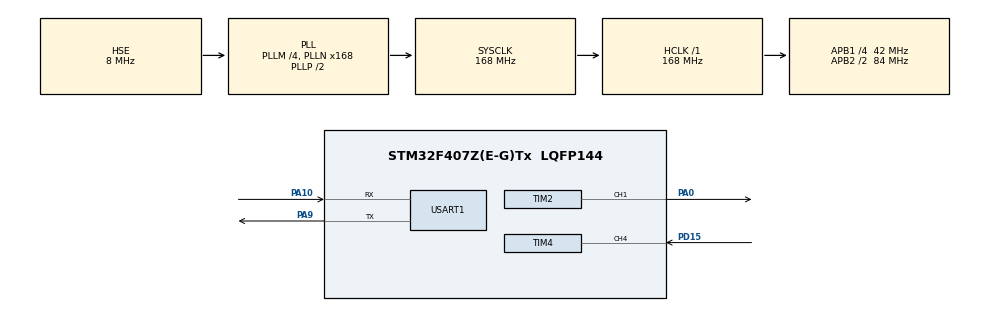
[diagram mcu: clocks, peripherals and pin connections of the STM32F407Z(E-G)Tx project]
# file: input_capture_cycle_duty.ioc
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Mcu.Family=STM32F4
Mcu.Name=STM32F407Z(E-G)Tx
Mcu.Package=LQFP144
NVIC.PriorityGroup=NVIC_PRIORITYGROUP_4
NVIC.TIM4_IRQn=true\:0\:0\:false\:false\:true\:true\:true
PA0-WKUP.Signal=S_TIM2_CH1_ETR
PA10.Mode=Asynchronous
PA10.Signal=USART1_RX
PA9.Mode=Asynchronous
PA9.Signal=USART1_TX
PC14-OSC32_IN.Mode=LSE-External-Oscillator
PC14-OSC32_IN.Signal=RCC_OSC32_IN
PC15-OSC32_OUT.Mode=LSE-External-Oscillator
PC15-OSC32_OUT.Signal=RCC_OSC32_OUT
PD15.Signal=S_TIM4_CH4
PH0-OSC_IN.Mode=HSE-External-Oscillator
PH0-OSC_IN.Signal=RCC_OSC_IN
PH1-OSC_OUT.Mode=HSE-External-Oscillator
PH1-OSC_OUT.Signal=RCC_OSC_OUT
ProjectManager.HeapSize=0x200
ProjectManager.StackSize=0x400
ProjectManager.TargetToolchain=MDK-ARM V5.32
RCC.48MHZClocksFreq_Value=84000000
RCC.AHBFreq_Value=168000000
RCC.APB1CLKDivider=RCC_HCLK_DIV4
RCC.APB1Freq_Value=42000000
RCC.APB1TimFreq_Value=84000000
RCC.APB2CLKDivider=RCC_HCLK_DIV2
RCC.APB2Freq_Value=84000000
RCC.APB2TimFreq_Value=168000000
RCC.CortexFreq_Value=168000000
RCC.HCLKFreq_Value=168000000
RCC.HSE_VALUE=8000000
RCC.HSI_VALUE=16000000
RCC.PLLM=4
RCC.PLLN=168
RCC.PLLSourceVirtual=RCC_PLLSOURCE_HSE
RCC.SYSCLKFreq_VALUE=168000000
RCC.SYSCLKSource=RCC_SYSCLKSOURCE_PLLCLK
RCC.VCOOutputFreq_Value=336000000
SH.S_TIM2_CH1_ETR.0=TIM2_CH1,PWM Generation1 CH1
SH.S_TIM4_CH4.0=TIM4_CH4,Input_Capture4_from_TI4
TIM2.Channel-PWM\ Generation1\ CH1=TIM_CHANNEL_1
TIM2.Period=10000-1
TIM2.Prescaler=84-1
TIM2.Pulse-PWM\ Generation1\ CH1=5000
TIM4.AutoReloadPreload=TIM_AUTORELOAD_PRELOAD_ENABLE
TIM4.Channel-Input_Capture4_from_TI4=TIM_CHANNEL_4
TIM4.Prescaler=84-1
USART1.VirtualMode=VM_ASYNC
VP_TIM2_VS_ClockSourceINT.Mode=Internal
VP_TIM4_VS_ClockSourceINT.Mode=Internal
board=custom

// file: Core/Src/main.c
/* USER CODE BEGIN Header */
/**
  ******************************************************************************
  * @file           : main.c
  * @brief          : Main program body
  ******************************************************************************
  * @attention
  *
  * <h2><center>&copy; Copyright (c) 2021 STMicroelectronics.
  * All rights reserved.</center></h2>
  *
  * This software component is licensed by ST under BSD 3-Clause license,
  * the "License"; You may not use this file except in compliance with the
  * License. You may obtain a copy of the License at:
  *                        opensource.org/licenses/BSD-3-Clause
  *
  ******************************************************************************
  */
/* USER CODE END Header */
#include "main.h"
#include "tim.h"
#include "usart.h"
#include "gpio.h"

void SystemClock_Config(void);

/* USER CODE BEGIN 0 */
__IO float DutyCycle = 0;
__IO float Frequency = 0;

void get_pwm_duty(void)
{
  if(TIM4CH4_CAPTURE_STA&0X80)        //成功捕获到了一次高电平
		{
      DutyCycle=(float)(TIM4CH4_CAPTURE_VAH*100)/(TIM4CH4_CAPTURE_VAH+TIM4CH4_CAPTURE_VAL);
			Frequency=84000000/84/(TIM4CH4_CAPTURE_VAH+TIM4CH4_CAPTURE_VAL);
			printf("TIM4CH4_CAPTURE_VAH=%d\r\n",TIM4CH4_CAPTURE_VAH);
		  printf("TIM4CH4_CAPTURE_VAL=%d\r\n",TIM4CH4_CAPTURE_VAL);
		  printf("占空比:%f\r\n",DutyCycle);
		  printf("频率:%f\r\n",Frequency);
			TIM4CH4_CAPTURE_STA=0;          //开启下一次捕获
		}
}
/* USER CODE END 0 */

int main(void)
{

  /* MCU Configuration--------------------------------------------------------*/

  /* Reset of all peripherals, Initializes the Flash interface and the Systick. */
  HAL_Init();

  /* Configure the system clock */
  SystemClock_Config();

  /* Initialize all configured peripherals */
  MX_GPIO_Init();
  MX_TIM2_Init();
  MX_TIM4_Init();
  MX_USART1_UART_Init();
  /* USER CODE BEGIN 2 */
	/// 开始输出PWM
	HAL_TIM_PWM_Start(&htim2,TIM_CHANNEL_1);
	  HAL_TIM_IC_Start_IT(&htim4,TIM_CHANNEL_4);   //开启TIM5的捕获通道1，并且开启捕获中断
//  __HAL_TIM_ENABLE_IT(&htim4,TIM_IT_UPDATE);   //使能更新中断
  /* USER CODE END 2 */

  /* Infinite loop */
  while (1)
  {

    /* USER CODE BEGIN 3 */
		get_pwm_duty();
		HAL_Delay(500);
  }
  /* USER CODE END 3 */
}

void SystemClock_Config(void)
{
  RCC_OscInitTypeDef RCC_OscInitStruct = {0};
  RCC_ClkInitTypeDef RCC_ClkInitStruct = {0};

  /** Configure the main internal regulator output voltage
  */
  __HAL_RCC_PWR_CLK_ENABLE();
  __HAL_PWR_VOLTAGESCALING_CONFIG(PWR_REGULATOR_VOLTAGE_SCALE1);
  /** Initializes the RCC Oscillators according to the specified parameters
  * in the RCC_OscInitTypeDef structure.
  */
  RCC_OscInitStruct.OscillatorType = RCC_OSCILLATORTYPE_HSE;
  RCC_OscInitStruct.HSEState = RCC_HSE_ON;
  RCC_OscInitStruct.PLL.PLLState = RCC_PLL_ON;
  RCC_OscInitStruct.PLL.PLLSource = RCC_PLLSOURCE_HSE;
  RCC_OscInitStruct.PLL.PLLM = 4;
  RCC_OscInitStruct.PLL.PLLN = 168;
  RCC_OscInitStruct.PLL.PLLP = RCC_PLLP_DIV2;
  RCC_OscInitStruct.PLL.PLLQ = 4;
  if (HAL_RCC_OscConfig(&RCC_OscInitStruct) != HAL_OK)
  {
    Error_Handler();
  }
  /** Initializes the CPU, AHB and APB buses clocks
  */
  RCC_ClkInitStruct.ClockType = RCC_CLOCKTYPE_HCLK|RCC_CLOCKTYPE_SYSCLK
                              |RCC_CLOCKTYPE_PCLK1|RCC_CLOCKTYPE_PCLK2;
  RCC_ClkInitStruct.SYSCLKSource = RCC_SYSCLKSOURCE_PLLCLK;
  RCC_ClkInitStruct.AHBCLKDivider = RCC_SYSCLK_DIV1;
  RCC_ClkInitStruct.APB1CLKDivider = RCC_HCLK_DIV4;
  RCC_ClkInitStruct.APB2CLKDivider = RCC_HCLK_DIV2;

  if (HAL_RCC_ClockConfig(&RCC_ClkInitStruct, FLASH_LATENCY_5) != HAL_OK)
  {
    Error_Handler();
  }
}

void Error_Handler(void)
{
  __disable_irq();
  while (1)
  {
  }
}

/************************ (C) COPYRIGHT STMicroelectronics *****END OF FILE****/
